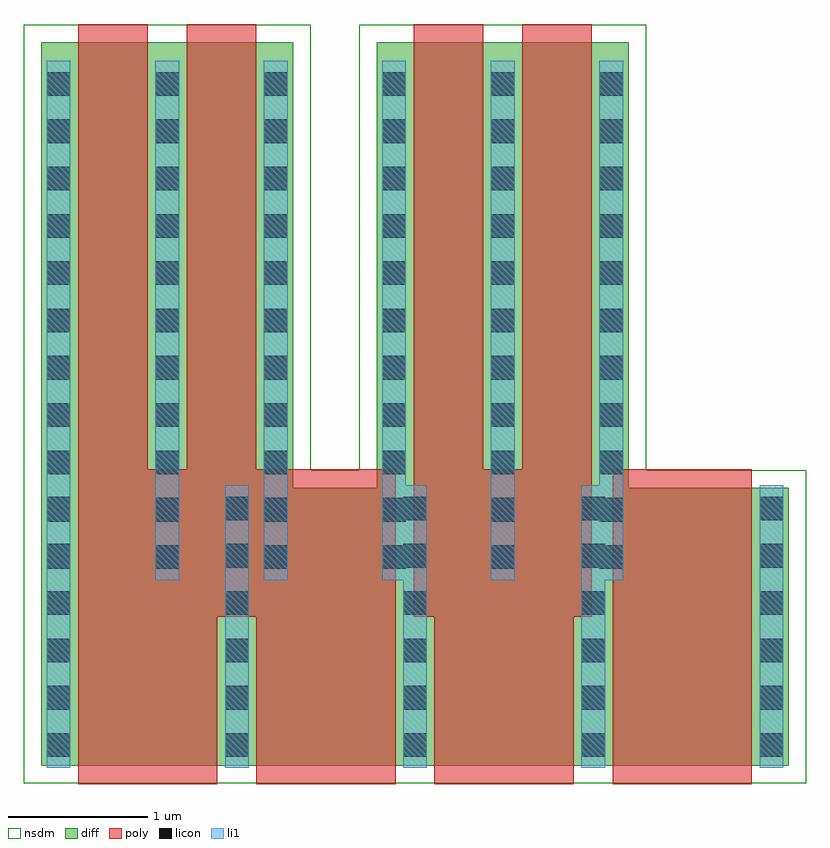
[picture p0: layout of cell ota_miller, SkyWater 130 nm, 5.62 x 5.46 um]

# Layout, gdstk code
import gdstk
lib = gdstk.Library(unit=1e-6, precision=1e-09)
def R(c, l, rs):  # rectangles x0, y0, x1, y1
    for r in rs: c.add(gdstk.rectangle(r[:2], r[2:], *l))
def A(c, l, x, y, w, h, nx, ny, dx, dy):  # array of equal rectangles
    R(c, l, [(x+i*dx, y+j*dy, x+i*dx+w, y+j*dy+h) for i in range(nx) for j in range(ny)])
diff = (65, 20)
poly = (66, 20)
licon = (66, 44)
li1 = (67, 20)
nsdm = (93, 44)

ota_miller = lib.new_cell('ota_miller')
R(ota_miller, diff, [(0,-1.2,5.37,0.8), (0,0,1.81,4), (2.41,0,4.22,4)])
A(ota_miller, poly, 0.265, -1.33, 1, 2.26, 4, 1, 1.28, 0)
R(ota_miller, poly, [(0.265,-0.13,0.765,4.13), (1.045,-0.13,1.545,4.13), (2.675,-0.13,3.175,4.13), (3.455,-0.13,3.955,4.13)])
A(ota_miller, licon, 0.04, -1.135, 0.17, 0.17, 5, 6, 1.28, 0.34)
A(ota_miller, licon, 0.04, 0.215, 0.17, 0.17, 3, 11, 0.78, 0.34)
A(ota_miller, licon, 2.45, 0.215, 0.17, 0.17, 3, 11, 0.78, 0.34)
A(ota_miller, li1, 0.04, -1.215, 0.17, 2.03, 5, 1, 1.28, 0)
A(ota_miller, li1, 0.04, 0.135, 0.17, 3.73, 3, 1, 0.78, 0)
A(ota_miller, li1, 2.45, 0.135, 0.17, 3.73, 3, 1, 0.78, 0)
R(ota_miller, nsdm, [(-0.125,-1.325,5.495,0.925), (-0.125,-0.125,1.935,4.125), (2.285,-0.125,4.345,4.125)])

lib.write_gds('ota_miller.gds')
